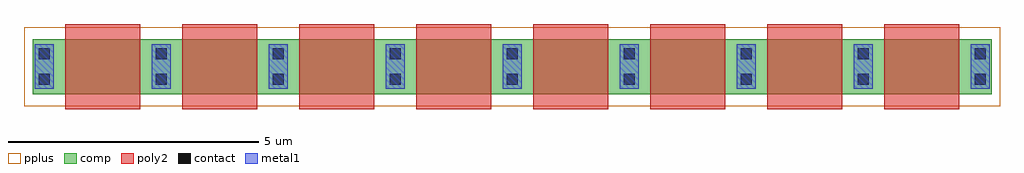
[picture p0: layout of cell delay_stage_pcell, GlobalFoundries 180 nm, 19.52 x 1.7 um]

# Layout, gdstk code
import gdstk
lib = gdstk.Library(unit=1e-6, precision=5e-09)
def R(c, l, rs):  # rectangles x0, y0, x1, y1
    for r in rs: c.add(gdstk.rectangle(r[:2], r[2:], *l))
comp = (22, 0)
poly2 = (30, 0)
pplus = (31, 0)
contact = (33, 0)
metal1 = (34, 0)

delay_stage_pcell_1_1 = lib.new_cell('delay_stage_pcell_1$1')
R(delay_stage_pcell_1_1, comp, [(0.17,0.3,0.63,1.4), (0.63,0.3,2.51,1.4), (2.51,0.3,2.97,1.4)])
R(delay_stage_pcell_1_1, poly2, [(0.82,0,2.32,1.7)])
R(delay_stage_pcell_1_1, pplus, [(0,0.06,3.14,1.64)])
R(delay_stage_pcell_1_1, contact, [(0.29,0.485,0.51,0.705), (2.63,0.485,2.85,0.705), (0.29,0.995,0.51,1.215), (2.63,0.995,2.85,1.215)])
R(delay_stage_pcell_1_1, metal1, [(0.21,0.405,0.59,1.295), (2.55,0.405,2.93,1.295)])

delay_stage_pcell_4 = lib.new_cell('delay_stage_pcell_4')
delay_stage_pcell_4.add(gdstk.Reference(delay_stage_pcell_1_1, (0,0)))
delay_stage_pcell_4.add(gdstk.Reference(delay_stage_pcell_1_1, (2.34,0)))
delay_stage_pcell_4.add(gdstk.Reference(delay_stage_pcell_1_1, (4.68,0)))
delay_stage_pcell_4.add(gdstk.Reference(delay_stage_pcell_1_1, (7.02,0)))

delay_stage_pcell = lib.new_cell('delay_stage_pcell')
delay_stage_pcell.add(gdstk.Reference(delay_stage_pcell_4, (0.68,1.33)))
delay_stage_pcell.add(gdstk.Reference(delay_stage_pcell_4, (10.04,1.33)))

lib.write_gds('delay_stage_pcell.gds')
